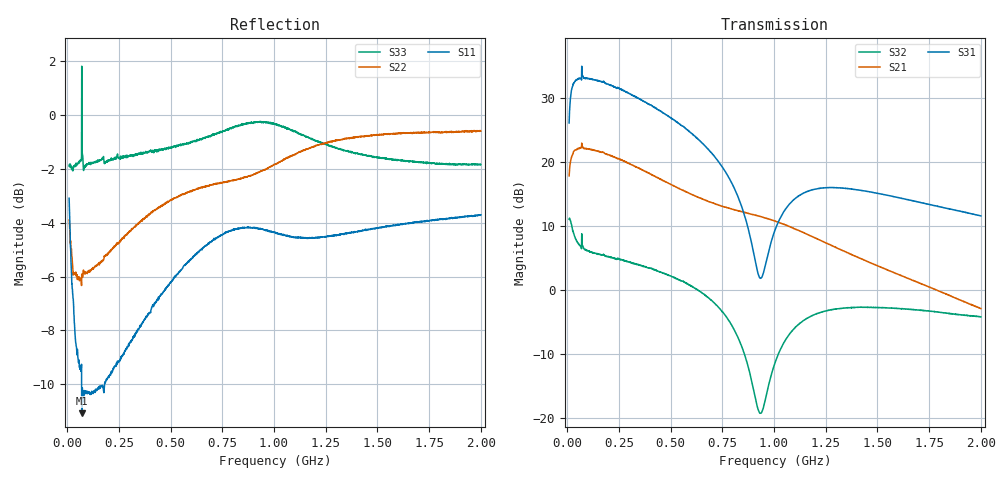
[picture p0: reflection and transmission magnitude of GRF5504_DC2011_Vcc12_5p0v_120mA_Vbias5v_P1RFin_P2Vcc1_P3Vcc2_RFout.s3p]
!Keysight Technologies,N5244B,MY57181157,A.18.40.03
!Date: Wednesday, September 17, 2025 09:51:07
!Correction: S11(C  3-Port  )
!S12(C  3-Port  )
!S13(C  3-Port  )
!S21(C  3-Port  )
!S22(C  3-Port  )
!S23(C  3-Port  )
!S31(C  3-Port  )
!S32(C  3-Port  )
!S33(C  3-Port  )
!S3P File: Measurements: <S11,S12,S13>,
!<S21,S22,S23>,
!<S31,S32,S33>:
# Hz S  RI  R 50
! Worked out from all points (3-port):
!   1991 points, 10 MHz to 2 GHz, reference 50 ohm
!   strongest paths, dB at 10 MHz, 507 MHz, 1.005 GHz, 1.503 GHz, 2 GHz:
!     S31: 26.1, 26.8, 9.4, 15.1, 11.6
!     S21: 17.8, 16.4, 10.8, 3.7, -2.9
!     S32: 11.0, 2.0, -11.4, -2.8, -4.2
!   lowest |S11| = -11.1 dB at 71 MHz (marker M1), VSWR 1.78, Z = 30.6 - j11.9 ohm
!   |S11| at or under -10 dB: 70.41 MHz to 181.6 MHz (111.1 MHz wide, 88.2 % of centre)
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1e7  0.4878 -0.5025  0.074 -0.0433  0.000314 -0.00232
     -5.018 -5.954  0.2446 -0.5893  0.0132 -0.0328
     -0.8274 20.18  -3.415 -1.009  -0.131 -0.7927
2.2e7  0.1084 -0.4912  0.0424 -0.0383  -0.000281 -0.000381
       -9.885 -4.808  -0.1831 -0.524  -0.00616 -0.0162
       24.57 27.22  -3.159 0.6568  -0.5828 -0.547
3.5e7  -0.0695 -0.4059  0.0307 -0.0289  5.72e-05 1.08e-05
       -11.87 -3.01  -0.3209 -0.3908  0.00218 -0.00232
       37.39 19.03  -2.518 0.8622  -0.6955 -0.3983
7.1e7  -0.2147 -0.1787  0.0214 -0.0215  -0.000556 -0.00252
       -13.95 1.732  -0.4041 -0.3035  0.024 -0.0369
       55.86 5.744  -2.619 0.8276  -1.21 -0.2308
1.51e8  -0.2369 -0.1995  0.0193 -0.00994  -0.000206 0.000106
        -10.69 5.711  -0.4992 -0.1731  0.00381 0.00303
        36.73 -22.52  -1.639 0.9611  -0.8103 -0.1244
2.53e8  -0.2728 -0.2178  0.018 -0.00829  5.39e-05 0.000302
        -6.815 8.042  -0.5577 -0.1556  0.0057 0.00457
        18.84 -32.34  -1.289 1.169  -0.8232 -0.103
4.95e8  -0.3975 -0.2798  0.0149 -0.00636  3.95e-05 0.000705
        -0.6318 6.731  -0.6865 -0.0951  0.00939 0.00415
        -8.659 -20.74  -0.374 1.238  -0.863 -0.0973
7.77e8  -0.5566 -0.2436  0.0157 -0.0043  0.000304 0.0011
        1.256 4.196  -0.7525 -0.0205  0.00758 -0.000153
        -7.603 -1.682  0.2343 0.544  -0.936 -0.0766
1.005e9  -0.5864 -0.1533  0.0174 -0.00794  -0.000429 0.00108
         2.031 2.798  -0.8097 -0.00492  0.000118 0.00307
         0.5496 -2.889  -0.2545 0.0874  -0.9622 0.0356
2e9  -0.6519 0.0158  0.0044 -0.00778  -0.000158 0.00466
     0.7132 0.045  -0.822 0.4422  0.0104 0.0186
     -3.782 -0.1993  0.1412 0.5986  -0.8011 0.1071
